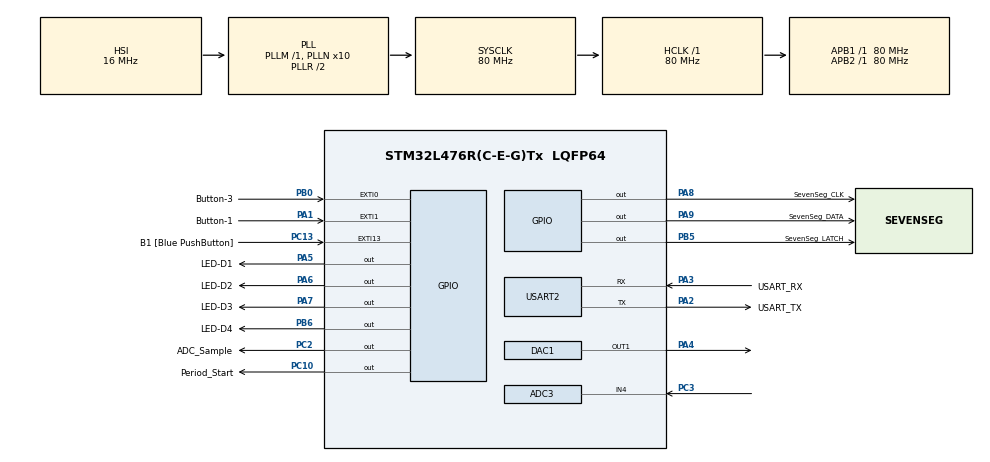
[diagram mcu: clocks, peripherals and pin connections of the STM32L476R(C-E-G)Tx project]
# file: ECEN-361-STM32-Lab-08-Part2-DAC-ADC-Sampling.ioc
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ADC3.Channel-1\#ChannelRegularConversion=ADC_CHANNEL_4
ADC3.ContinuousConvMode=DISABLE
ADC3.DMAContinuousRequests=DISABLE
ADC3.ExternalTrigConv=ADC_SOFTWARE_START
ADC3.NbrOfConversion=1
ADC3.NbrOfConversionFlag=1
ADC3.OffsetNumber-1\#ChannelRegularConversion=ADC_OFFSET_NONE
ADC3.Overrun=ADC_OVR_DATA_OVERWRITTEN
ADC3.Rank-1\#ChannelRegularConversion=1
ADC3.SamplingTime-1\#ChannelRegularConversion=ADC_SAMPLETIME_2CYCLES_5
DAC1.DAC_OutputBuffer-DAC_OUT1=DAC_OUTPUTBUFFER_ENABLE
DAC1.DAC_SampleAndHold-DAC_OUT1=DAC_SAMPLEANDHOLD_DISABLE
DAC1.DAC_Trigger-DAC_OUT1=DAC_TRIGGER_T2_TRGO
DAC1.DAC_UserTrimming-DAC_OUT1=DAC_TRIMMING_USER
Dma.DAC_CH1.0.Direction=DMA_MEMORY_TO_PERIPH
Dma.DAC_CH1.0.Instance=DMA1_Channel3
Dma.DAC_CH1.0.MemDataAlignment=DMA_MDATAALIGN_HALFWORD
Dma.DAC_CH1.0.MemInc=DMA_MINC_ENABLE
Dma.DAC_CH1.0.Mode=DMA_CIRCULAR
Dma.DAC_CH1.0.PeriphDataAlignment=DMA_PDATAALIGN_HALFWORD
Dma.DAC_CH1.0.PeriphInc=DMA_PINC_DISABLE
Dma.DAC_CH1.0.Priority=DMA_PRIORITY_MEDIUM
Dma.Request0=DAC_CH1
Dma.Request1=USART2_TX
Dma.USART2_TX.1.Direction=DMA_MEMORY_TO_PERIPH
Dma.USART2_TX.1.Instance=DMA1_Channel7
Dma.USART2_TX.1.MemDataAlignment=DMA_MDATAALIGN_BYTE
Dma.USART2_TX.1.MemInc=DMA_MINC_ENABLE
Dma.USART2_TX.1.Mode=DMA_NORMAL
Dma.USART2_TX.1.PeriphDataAlignment=DMA_PDATAALIGN_BYTE
Dma.USART2_TX.1.PeriphInc=DMA_PINC_DISABLE
Dma.USART2_TX.1.Priority=DMA_PRIORITY_LOW
Mcu.Family=STM32L4
Mcu.Name=STM32L476R(C-E-G)Tx
Mcu.Package=LQFP64
NVIC.ADC3_IRQn=true\:0\:0\:false\:false\:true\:true\:true\:true
NVIC.DMA1_Channel3_IRQn=true\:5\:0\:true\:false\:true\:true\:true\:true
NVIC.EXTI0_IRQn=true\:0\:0\:false\:false\:true\:true\:true\:true
NVIC.EXTI15_10_IRQn=true\:0\:0\:false\:false\:true\:true\:true\:true
NVIC.EXTI1_IRQn=true\:0\:0\:false\:false\:true\:true\:true\:true
NVIC.PriorityGroup=NVIC_PRIORITYGROUP_4
NVIC.TIM1_BRK_TIM15_IRQn=true\:0\:0\:false\:false\:true\:true\:true\:true
NVIC.TIM1_TRG_COM_TIM17_IRQn=true\:7\:0\:true\:false\:true\:true\:true\:true
NVIC.TIM2_IRQn=true\:0\:0\:false\:false\:true\:true\:true\:true
NVIC.TIM3_IRQn=true\:0\:0\:false\:false\:true\:true\:true\:true
NVIC.TIM6_DAC_IRQn=true\:15\:0\:false\:false\:true\:true\:true\:true
PA1.GPIO_Label=Button-1
PA1.Signal=GPXTI1
PA13\ (JTMS-SWDIO).GPIO_Label=TMS
PA13\ (JTMS-SWDIO).Mode=Serial_Wire
PA13\ (JTMS-SWDIO).Signal=SYS_JTMS-SWDIO
PA14\ (JTCK-SWCLK).GPIO_Label=TCK
PA14\ (JTCK-SWCLK).Mode=Serial_Wire
PA14\ (JTCK-SWCLK).Signal=SYS_JTCK-SWCLK
PA2.GPIO_Label=USART_TX
PA2.GPIO_Mode=GPIO_MODE_AF_PP
PA2.GPIO_PuPd=GPIO_NOPULL
PA2.GPIO_Speed=GPIO_SPEED_FREQ_VERY_HIGH
PA2.Mode=Asynchronous
PA2.Signal=USART2_TX
PA3.GPIO_Label=USART_RX
PA3.GPIO_Mode=GPIO_MODE_AF_PP
PA3.GPIO_PuPd=GPIO_NOPULL
PA3.GPIO_Speed=GPIO_SPEED_FREQ_VERY_HIGH
PA3.Mode=Asynchronous
PA3.Signal=USART2_RX
PA4.Signal=COMP_DAC11_group
PA5.GPIO_Label=LED-D1
PA5.Signal=GPIO_Output
PA6.GPIO_Label=LED-D2
PA6.Signal=GPIO_Output
PA7.GPIO_Label=LED-D3
PA7.Signal=GPIO_Output
PA8.GPIO_Label=SevenSeg_CLK
PA8.Signal=GPIO_Output
PA9.GPIO_Label=SevenSeg_DATA
PA9.Signal=GPIO_Output
PB0.GPIO_Label=Button-3
PB0.Signal=GPXTI0
PB3\ (JTDO-TRACESWO).GPIO_Label=SWO
PB3\ (JTDO-TRACESWO).Signal=SYS_JTDO-SWO
PB5.GPIO_Label=SevenSeg_LATCH
PB5.Signal=GPIO_Output
PB6.GPIO_Label=LED-D4
PB6.Signal=GPIO_Output
PC10.GPIO_Label=Period_Start
PC10.Signal=GPIO_Output
PC13.GPIO_Label=B1 [Blue PushButton]
PC13.GPIO_ModeDefaultEXTI=GPIO_MODE_IT_FALLING
PC13.GPIO_PuPd=GPIO_NOPULL
PC13.Signal=GPXTI13
PC14-OSC32_IN\ (PC14).Mode=LSE-External-Oscillator
PC14-OSC32_IN\ (PC14).Signal=RCC_OSC32_IN
PC15-OSC32_OUT\ (PC15).Mode=LSE-External-Oscillator
PC15-OSC32_OUT\ (PC15).Signal=RCC_OSC32_OUT
PC2.GPIO_Label=ADC_Sample
PC2.Signal=GPIO_Output
PC3.Signal=ADCx_IN4
PC9.Signal=S_TIM8_CH4
PH0-OSC_IN\ (PH0).Signal=RCC_OSC_IN
PH1-OSC_OUT\ (PH1).Signal=RCC_OSC_OUT
ProjectManager.HeapSize=0x200
ProjectManager.StackSize=0x400
ProjectManager.TargetToolchain=STM32CubeIDE
RCC.ADCFreq_Value=64000000
RCC.AHBFreq_Value=80000000
RCC.APB1Freq_Value=80000000
RCC.APB1TimFreq_Value=80000000
RCC.APB2Freq_Value=80000000
RCC.APB2TimFreq_Value=80000000
RCC.CortexFreq_Value=80000000
RCC.HCLKFreq_Value=80000000
RCC.HSE_VALUE=8000000
RCC.HSI_VALUE=16000000
RCC.MSI_VALUE=4000000
RCC.PLLN=10
RCC.PLLSourceVirtual=RCC_PLLSOURCE_HSI
RCC.PREFETCH_ENABLE=1
RCC.SYSCLKFreq_VALUE=80000000
RCC.SYSCLKSource=RCC_SYSCLKSOURCE_PLLCLK
RCC.USBFreq_Value=64000000
RCC.VCOOutputFreq_Value=160000000
SH.ADCx_IN4.0=ADC3_IN4,IN4-Single-Ended
SH.COMP_DAC11_group.0=DAC1_OUT1,DAC_OUT1
SH.S_TIM8_CH4.0=TIM8_CH4
TIM15.Period=1000
TIM15.Prescaler=79
TIM17.Period=100
TIM17.Prescaler=800-1
TIM2.Period=1000
TIM2.Prescaler=79
TIM2.TIM_MasterOutputTrigger=TIM_TRGO_UPDATE
TIM3.Period=20018
TIM3.Prescaler=79
TIM3.TIM_MasterOutputTrigger=TIM_TRGO_UPDATE
USART2.VirtualMode-Asynchronous=VM_ASYNC
VP_TIM15_VS_ClockSourceINT.Mode=Internal
VP_TIM17_VS_ClockSourceINT.Mode=Enable_Timer
VP_TIM2_VS_ClockSourceINT.Mode=Internal
VP_TIM3_VS_ClockSourceINT.Mode=Internal
board=NUCLEO-L476RG

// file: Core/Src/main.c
/* USER CODE BEGIN Header */
/**
  ******************************************************************************
  * @file           : main.c
  * @brief          : ECEN-361-Lab-08-Part-2-DAC-ADC-Sampling
  *
  * BYU-Idaho
  * Fall-2023 :   Lynn Watson
  *
  * See the  STUDENTS EDITABLE places below to modify for submission
  ******************************************************************************
  */
/* USER CODE END Header */
#include "main.h"

/* USER CODE BEGIN Includes */
#include "sinewavetable.h"
#include "MultiFunctionShield.h"
#include <math.h>
/* USER CODE END Includes */

/* USER CODE BEGIN PTD */
void Start_the_DAC_DMA(void);

/* USER CODE END PTD */

/* USER CODE BEGIN PD */
int sindex = 0;
int hit_low = true;
int last_tick = 0;
int this_tick = 0;

enum ADC_Samples_Per_Cycle {
	one_sample_per,
	two_samples_per,
	four_samples_per,
	eight_samples_per,
	fifty_samples_per,
	NUM_CASES
} cases;

struct adc_sample_config {
	int samples_per;
	int Prescaler;
	int Period;
	} ;

/************** STUDENT EDIT START ******************/
/* Fill in the values that effect the sample rate, (timer3)
 * The expected waveform is the "1000" point one == 1 Hz
 *
 * NOTE that the values are only valid for 50 and 8.  1,2,4 are all TBD
 * Also note that to get really 'exact' fine-tuning, it's necessary
 * to do some measurement.  The 'why' is a question in the assignment.
 */

const struct adc_sample_config sample_case[] = {
		{1,		799,	12510},	//First #  in each line is the samples_per
		{2,		799,	12510},	//Second # in each line is the prescaler
		{4,		799,	12510},	//Third # in each line is the period
		{8,		799,	12510}, // This line is valid,
		{50,	79,		20018}
		};
/************** STUDENT EDIT END ******************/

enum ADC_Samples_Per_Cycle current_sample_case = fifty_samples_per ;

int adc_value;
int the_period = 0;
/* USER CODE END PD */

ADC_HandleTypeDef hadc3;

DAC_HandleTypeDef hdac1;
DMA_HandleTypeDef hdma_dac_ch1;

TIM_HandleTypeDef htim2;
TIM_HandleTypeDef htim3;
TIM_HandleTypeDef htim15;
TIM_HandleTypeDef htim17;

UART_HandleTypeDef huart2;
DMA_HandleTypeDef hdma_usart2_tx;

/* USER CODE BEGIN PV */
#define PUTCHAR_PROTOTYPE int __io_putchar(int ch)
/* Going to use the buffer to look for level-crossing detector
 * so we can use the ADC as a frequency counter.
 *
 * May also want to send the value out with another DMA that
 * reads from this buffer and sends it out via USART2
 */
#define ADC_BUFFER_LENGTH 1
uint16_t adc_buffer[ADC_BUFFER_LENGTH];

/* This is the formatted string buffer for the converted ADC results
 * After the buffer full of ADC samples is full, they have to be converted
 * to ASCII, a string per number that represents the 12-bits per sample
 *
 */
uint8_t adc_results_strings_buffer[ADC_BUFFER_LENGTH];

/* USER CODE END PV */

void SystemClock_Config(void);
static void MX_GPIO_Init(void);
static void MX_DMA_Init(void);
static void MX_USART2_UART_Init(void);
static void MX_DAC1_Init(void);
static void MX_TIM2_Init(void);
static void MX_TIM17_Init(void);
static void MX_ADC3_Init(void);
static void MX_TIM3_Init(void);
static void MX_TIM15_Init(void);
/* USER CODE BEGIN PFP */
void SW_SineWave(void * argument);
typedef void (*HAL_DMA_CallbackID)(DMA_HandleTypeDef *_hdma); //Pointer to the callback
void User_DMACompleteCallback(DMA_HandleTypeDef *hdac);

/* USER CODE END PFP */

/* USER CODE BEGIN 0 */

/************* GLOBALS **************/
int sinewave_table_index = 0;

enum points_per_cycle {ten=10,hundred=100,thousand=1000};
enum points_per_cycle points_to_use_in_a_cycle  = thousand;

/* USER CODE END 0 */

int main(void)
{

  /* MCU Configuration--------------------------------------------------------*/

  /* Reset of all peripherals, Initializes the Flash interface and the Systick. */
  HAL_Init();

  /* USER CODE BEGIN Init */
#define USE_HAL_DAC_REGISTER_CALLBACKS        1U

  /* USER CODE END Init */

  /* Configure the system clock */
  SystemClock_Config();

  /* Initialize all configured peripherals */
  MX_GPIO_Init();
  MX_DMA_Init();
  MX_USART2_UART_Init();
  MX_DAC1_Init();
  MX_TIM2_Init();
  MX_TIM17_Init();
  MX_ADC3_Init();
  MX_TIM3_Init();
  MX_TIM15_Init();
  /* USER CODE BEGIN 2 */

  HAL_TIM_Base_Start_IT(&htim2);
  HAL_TIM_Base_Start_IT(&htim3); //Timer3 is the ADC Sample trigger
  HAL_TIM_Base_Start_IT(&htim15); //Timer6 is an absolute Tick

  /* USER CODE END 2 */

  /* Infinite loop */
  /* USER CODE BEGIN WHILE */

  // HAL_GPIO_WritePin(LD2_GPIO_Port,LD2_Pin,1);

  printf("\033\143"); printf("Welcome to ECEN-361 Lab-8 Part2 SineWave Sampling\n\r\r");

  // Start timer
  MultiFunctionShield_Clear();								// Clear the 7-seg display
  HAL_TIM_Base_Start_IT(&htim17);							// LED SevenSeg cycle thru them
  Clear_LEDs();
  MultiFunctionShield_Display(points_to_use_in_a_cycle);

  /* Setup the DMA */

  if (HAL_DMA_Init(&hdma_dac_ch1) != HAL_OK)	{while(1);}
  // if (HAL_DMA_Init(&hdma_adc3) != HAL_OK)		{while(1);}
  if (HAL_DMA_Init(&hdma_usart2_tx) != HAL_OK)		{while(1);}

// HAL_StatusTypeDef HAL_DMA_RegisterCallback(DMA_HandleTypeDef *hdma, HAL_DMA_CallbackIDTypeDef CallbackID, void (* pCallback)(DMA_HandleTypeDef *_hdma));
//*Tell the DMA interrupt where to go*/
  HAL_DMA_RegisterCallback(&hdma_dac_ch1, HAL_DAC_CH1_COMPLETE_CB_ID, User_DMACompleteCallback);
  Start_the_DAC_DMA();

  while (1)
  {
    /* USER CODE END WHILE */

  }
}

void SystemClock_Config(void)
{
  RCC_OscInitTypeDef RCC_OscInitStruct = {0};
  RCC_ClkInitTypeDef RCC_ClkInitStruct = {0};

  /** Configure the main internal regulator output voltage
  */
  if (HAL_PWREx_ControlVoltageScaling(PWR_REGULATOR_VOLTAGE_SCALE1) != HAL_OK)
  {
    Error_Handler();
  }

  /** Initializes the RCC Oscillators according to the specified parameters
  * in the RCC_OscInitTypeDef structure.
  */
  RCC_OscInitStruct.OscillatorType = RCC_OSCILLATORTYPE_HSI;
  RCC_OscInitStruct.HSIState = RCC_HSI_ON;
  RCC_OscInitStruct.HSICalibrationValue = RCC_HSICALIBRATION_DEFAULT;
  RCC_OscInitStruct.PLL.PLLState = RCC_PLL_ON;
  RCC_OscInitStruct.PLL.PLLSource = RCC_PLLSOURCE_HSI;
  RCC_OscInitStruct.PLL.PLLM = 1;
  RCC_OscInitStruct.PLL.PLLN = 10;
  RCC_OscInitStruct.PLL.PLLP = RCC_PLLP_DIV7;
  RCC_OscInitStruct.PLL.PLLQ = RCC_PLLQ_DIV2;
  RCC_OscInitStruct.PLL.PLLR = RCC_PLLR_DIV2;
  if (HAL_RCC_OscConfig(&RCC_OscInitStruct) != HAL_OK)
  {
    Error_Handler();
  }

  /** Initializes the CPU, AHB and APB buses clocks
  */
  RCC_ClkInitStruct.ClockType = RCC_CLOCKTYPE_HCLK|RCC_CLOCKTYPE_SYSCLK
                              |RCC_CLOCKTYPE_PCLK1|RCC_CLOCKTYPE_PCLK2;
  RCC_ClkInitStruct.SYSCLKSource = RCC_SYSCLKSOURCE_PLLCLK;
  RCC_ClkInitStruct.AHBCLKDivider = RCC_SYSCLK_DIV1;
  RCC_ClkInitStruct.APB1CLKDivider = RCC_HCLK_DIV1;
  RCC_ClkInitStruct.APB2CLKDivider = RCC_HCLK_DIV1;

  if (HAL_RCC_ClockConfig(&RCC_ClkInitStruct, FLASH_LATENCY_4) != HAL_OK)
  {
    Error_Handler();
  }
}

static void MX_ADC3_Init(void)
{

  ADC_ChannelConfTypeDef sConfig = {0};

  /** Common config
  */
  hadc3.Instance = ADC3;
  hadc3.Init.ClockPrescaler = ADC_CLOCK_ASYNC_DIV1;
  hadc3.Init.Resolution = ADC_RESOLUTION_12B;
  hadc3.Init.DataAlign = ADC_DATAALIGN_RIGHT;
  hadc3.Init.ScanConvMode = ADC_SCAN_DISABLE;
  hadc3.Init.EOCSelection = ADC_EOC_SINGLE_CONV;
  hadc3.Init.LowPowerAutoWait = DISABLE;
  hadc3.Init.ContinuousConvMode = DISABLE;
  hadc3.Init.NbrOfConversion = 1;
  hadc3.Init.DiscontinuousConvMode = DISABLE;
  hadc3.Init.ExternalTrigConv = ADC_SOFTWARE_START;
  hadc3.Init.ExternalTrigConvEdge = ADC_EXTERNALTRIGCONVEDGE_NONE;
  hadc3.Init.DMAContinuousRequests = DISABLE;
  hadc3.Init.Overrun = ADC_OVR_DATA_OVERWRITTEN;
  hadc3.Init.OversamplingMode = DISABLE;
  if (HAL_ADC_Init(&hadc3) != HAL_OK)
  {
    Error_Handler();
  }

  /** Configure Regular Channel
  */
  sConfig.Channel = ADC_CHANNEL_4;
  sConfig.Rank = ADC_REGULAR_RANK_1;
  sConfig.SamplingTime = ADC_SAMPLETIME_2CYCLES_5;
  sConfig.SingleDiff = ADC_SINGLE_ENDED;
  sConfig.OffsetNumber = ADC_OFFSET_NONE;
  sConfig.Offset = 0;
  if (HAL_ADC_ConfigChannel(&hadc3, &sConfig) != HAL_OK)
  {
    Error_Handler();
  }

}

static void MX_DAC1_Init(void)
{

  DAC_ChannelConfTypeDef sConfig = {0};

  /** DAC Initialization
  */
  hdac1.Instance = DAC1;
  if (HAL_DAC_Init(&hdac1) != HAL_OK)
  {
    Error_Handler();
  }

  /** DAC channel OUT1 config
  */
  sConfig.DAC_SampleAndHold = DAC_SAMPLEANDHOLD_DISABLE;
  sConfig.DAC_Trigger = DAC_TRIGGER_T2_TRGO;
  sConfig.DAC_OutputBuffer = DAC_OUTPUTBUFFER_ENABLE;
  sConfig.DAC_ConnectOnChipPeripheral = DAC_CHIPCONNECT_DISABLE;
  sConfig.DAC_UserTrimming = DAC_TRIMMING_USER;
  sConfig.DAC_TrimmingValue = 1;
  if (HAL_DAC_ConfigChannel(&hdac1, &sConfig, DAC_CHANNEL_1) != HAL_OK)
  {
    Error_Handler();
  }
  /* USER CODE BEGIN DAC1_Init 2 */
  // HAL_StatusTypeDef HAL_DACEx_SelfCalibrate(DAC_HandleTypeDef *hdac, *sConfig, uint32_t Channel)
  if (HAL_DACEx_SelfCalibrate(&hdac1, &sConfig, DAC_CHANNEL_1) != HAL_OK) {Error_Handler();}

  /* USER CODE END DAC1_Init 2 */

}

static void MX_TIM2_Init(void)
{

  TIM_ClockConfigTypeDef sClockSourceConfig = {0};
  TIM_MasterConfigTypeDef sMasterConfig = {0};

  htim2.Instance = TIM2;
  htim2.Init.Prescaler = 79;
  htim2.Init.CounterMode = TIM_COUNTERMODE_UP;
  htim2.Init.Period = 1000;
  htim2.Init.ClockDivision = TIM_CLOCKDIVISION_DIV1;
  htim2.Init.AutoReloadPreload = TIM_AUTORELOAD_PRELOAD_DISABLE;
  if (HAL_TIM_Base_Init(&htim2) != HAL_OK)
  {
    Error_Handler();
  }
  sClockSourceConfig.ClockSource = TIM_CLOCKSOURCE_INTERNAL;
  if (HAL_TIM_ConfigClockSource(&htim2, &sClockSourceConfig) != HAL_OK)
  {
    Error_Handler();
  }
  sMasterConfig.MasterOutputTrigger = TIM_TRGO_UPDATE;
  sMasterConfig.MasterSlaveMode = TIM_MASTERSLAVEMODE_DISABLE;
  if (HAL_TIMEx_MasterConfigSynchronization(&htim2, &sMasterConfig) != HAL_OK)
  {
    Error_Handler();
  }

}

static void MX_TIM3_Init(void)
{

  TIM_ClockConfigTypeDef sClockSourceConfig = {0};
  TIM_MasterConfigTypeDef sMasterConfig = {0};

  htim3.Instance = TIM3;
  htim3.Init.Prescaler = 79;
  htim3.Init.CounterMode = TIM_COUNTERMODE_UP;
  htim3.Init.Period = 20018;
  htim3.Init.ClockDivision = TIM_CLOCKDIVISION_DIV1;
  htim3.Init.AutoReloadPreload = TIM_AUTORELOAD_PRELOAD_DISABLE;
  if (HAL_TIM_Base_Init(&htim3) != HAL_OK)
  {
    Error_Handler();
  }
  sClockSourceConfig.ClockSource = TIM_CLOCKSOURCE_INTERNAL;
  if (HAL_TIM_ConfigClockSource(&htim3, &sClockSourceConfig) != HAL_OK)
  {
    Error_Handler();
  }
  sMasterConfig.MasterOutputTrigger = TIM_TRGO_UPDATE;
  sMasterConfig.MasterSlaveMode = TIM_MASTERSLAVEMODE_DISABLE;
  if (HAL_TIMEx_MasterConfigSynchronization(&htim3, &sMasterConfig) != HAL_OK)
  {
    Error_Handler();
  }

}

static void MX_TIM15_Init(void)
{

  TIM_ClockConfigTypeDef sClockSourceConfig = {0};
  TIM_MasterConfigTypeDef sMasterConfig = {0};

  htim15.Instance = TIM15;
  htim15.Init.Prescaler = 79;
  htim15.Init.CounterMode = TIM_COUNTERMODE_UP;
  htim15.Init.Period = 1000;
  htim15.Init.ClockDivision = TIM_CLOCKDIVISION_DIV1;
  htim15.Init.RepetitionCounter = 0;
  htim15.Init.AutoReloadPreload = TIM_AUTORELOAD_PRELOAD_DISABLE;
  if (HAL_TIM_Base_Init(&htim15) != HAL_OK)
  {
    Error_Handler();
  }
  sClockSourceConfig.ClockSource = TIM_CLOCKSOURCE_INTERNAL;
  if (HAL_TIM_ConfigClockSource(&htim15, &sClockSourceConfig) != HAL_OK)
  {
    Error_Handler();
  }
  sMasterConfig.MasterOutputTrigger = TIM_TRGO_RESET;
  sMasterConfig.MasterSlaveMode = TIM_MASTERSLAVEMODE_DISABLE;
  if (HAL_TIMEx_MasterConfigSynchronization(&htim15, &sMasterConfig) != HAL_OK)
  {
    Error_Handler();
  }

}

static void MX_TIM17_Init(void)
{

  htim17.Instance = TIM17;
  htim17.Init.Prescaler = 800-1;
  htim17.Init.CounterMode = TIM_COUNTERMODE_UP;
  htim17.Init.Period = 100;
  htim17.Init.ClockDivision = TIM_CLOCKDIVISION_DIV1;
  htim17.Init.RepetitionCounter = 0;
  htim17.Init.AutoReloadPreload = TIM_AUTORELOAD_PRELOAD_DISABLE;
  if (HAL_TIM_Base_Init(&htim17) != HAL_OK)
  {
    Error_Handler();
  }

}

static void MX_USART2_UART_Init(void)
{

  huart2.Instance = USART2;
  huart2.Init.BaudRate = 115200;
  huart2.Init.WordLength = UART_WORDLENGTH_8B;
  huart2.Init.StopBits = UART_STOPBITS_1;
  huart2.Init.Parity = UART_PARITY_NONE;
  huart2.Init.Mode = UART_MODE_TX_RX;
  huart2.Init.HwFlowCtl = UART_HWCONTROL_NONE;
  huart2.Init.OverSampling = UART_OVERSAMPLING_16;
  huart2.Init.OneBitSampling = UART_ONE_BIT_SAMPLE_DISABLE;
  huart2.AdvancedInit.AdvFeatureInit = UART_ADVFEATURE_NO_INIT;
  if (HAL_UART_Init(&huart2) != HAL_OK)
  {
    Error_Handler();
  }

}

static void MX_DMA_Init(void)
{

  /* DMA controller clock enable */
  __HAL_RCC_DMA1_CLK_ENABLE();

  /* DMA interrupt init */
  /* DMA1_Channel3_IRQn interrupt configuration */
  HAL_NVIC_SetPriority(DMA1_Channel3_IRQn, 5, 0);
  HAL_NVIC_EnableIRQ(DMA1_Channel3_IRQn);

}

static void MX_GPIO_Init(void)
{
  GPIO_InitTypeDef GPIO_InitStruct = {0};

  /* GPIO Ports Clock Enable */
  __HAL_RCC_GPIOC_CLK_ENABLE();
  __HAL_RCC_GPIOH_CLK_ENABLE();
  __HAL_RCC_GPIOA_CLK_ENABLE();
  __HAL_RCC_GPIOB_CLK_ENABLE();

  /*Configure GPIO pin Output Level */
  HAL_GPIO_WritePin(GPIOC, ADC_Sample_Pin|Period_Start_Pin, GPIO_PIN_RESET);

  /*Configure GPIO pin Output Level */
  HAL_GPIO_WritePin(GPIOA, LED_D1_Pin|LED_D2_Pin|LED_D3_Pin|SevenSeg_CLK_Pin
                          |SevenSeg_DATA_Pin, GPIO_PIN_RESET);

  /*Configure GPIO pin Output Level */
  HAL_GPIO_WritePin(GPIOB, SevenSeg_LATCH_Pin|LED_D4_Pin, GPIO_PIN_RESET);

  /*Configure GPIO pin : B1_Pin */
  GPIO_InitStruct.Pin = B1_Pin;
  GPIO_InitStruct.Mode = GPIO_MODE_IT_FALLING;
  GPIO_InitStruct.Pull = GPIO_NOPULL;
  HAL_GPIO_Init(B1_GPIO_Port, &GPIO_InitStruct);

  /*Configure GPIO pins : ADC_Sample_Pin Period_Start_Pin */
  GPIO_InitStruct.Pin = ADC_Sample_Pin|Period_Start_Pin;
  GPIO_InitStruct.Mode = GPIO_MODE_OUTPUT_PP;
  GPIO_InitStruct.Pull = GPIO_NOPULL;
  GPIO_InitStruct.Speed = GPIO_SPEED_FREQ_LOW;
  HAL_GPIO_Init(GPIOC, &GPIO_InitStruct);

  /*Configure GPIO pin : Button_1_Pin */
  GPIO_InitStruct.Pin = Button_1_Pin;
  GPIO_InitStruct.Mode = GPIO_MODE_IT_RISING;
  GPIO_InitStruct.Pull = GPIO_NOPULL;
  HAL_GPIO_Init(Button_1_GPIO_Port, &GPIO_InitStruct);

  /*Configure GPIO pins : LED_D1_Pin LED_D2_Pin LED_D3_Pin SevenSeg_CLK_Pin
                           SevenSeg_DATA_Pin */
  GPIO_InitStruct.Pin = LED_D1_Pin|LED_D2_Pin|LED_D3_Pin|SevenSeg_CLK_Pin
                          |SevenSeg_DATA_Pin;
  GPIO_InitStruct.Mode = GPIO_MODE_OUTPUT_PP;
  GPIO_InitStruct.Pull = GPIO_NOPULL;
  GPIO_InitStruct.Speed = GPIO_SPEED_FREQ_LOW;
  HAL_GPIO_Init(GPIOA, &GPIO_InitStruct);

  /*Configure GPIO pin : Button_3_Pin */
  GPIO_InitStruct.Pin = Button_3_Pin;
  GPIO_InitStruct.Mode = GPIO_MODE_IT_RISING;
  GPIO_InitStruct.Pull = GPIO_NOPULL;
  HAL_GPIO_Init(Button_3_GPIO_Port, &GPIO_InitStruct);

  /*Configure GPIO pin : PC9 */
  GPIO_InitStruct.Pin = GPIO_PIN_9;
  GPIO_InitStruct.Mode = GPIO_MODE_AF_PP;
  GPIO_InitStruct.Pull = GPIO_NOPULL;
  GPIO_InitStruct.Speed = GPIO_SPEED_FREQ_LOW;
  GPIO_InitStruct.Alternate = GPIO_AF3_TIM8;
  HAL_GPIO_Init(GPIOC, &GPIO_InitStruct);

  /*Configure GPIO pins : SevenSeg_LATCH_Pin LED_D4_Pin */
  GPIO_InitStruct.Pin = SevenSeg_LATCH_Pin|LED_D4_Pin;
  GPIO_InitStruct.Mode = GPIO_MODE_OUTPUT_PP;
  GPIO_InitStruct.Pull = GPIO_NOPULL;
  GPIO_InitStruct.Speed = GPIO_SPEED_FREQ_LOW;
  HAL_GPIO_Init(GPIOB, &GPIO_InitStruct);

  /* EXTI interrupt init*/
  HAL_NVIC_SetPriority(EXTI0_IRQn, 0, 0);
  HAL_NVIC_EnableIRQ(EXTI0_IRQn);

  HAL_NVIC_SetPriority(EXTI1_IRQn, 0, 0);
  HAL_NVIC_EnableIRQ(EXTI1_IRQn);

  HAL_NVIC_SetPriority(EXTI15_10_IRQn, 0, 0);
  HAL_NVIC_EnableIRQ(EXTI15_10_IRQn);

}

/* USER CODE BEGIN 4 */

/**
  * @brief  Retargets the C library printf function to the USART.
  * @param  None
  * @retval None
  */
PUTCHAR_PROTOTYPE
{
  /* Place your implementation of fputc here */
  /* e.g. write a character to the USART1 and Loop until the end of transmission */
  HAL_UART_Transmit(&huart2, (uint8_t *)&ch, 1, 0xFFFF);

  return ch;
}

void HAL_DAC_ConvCpltCallbackCh1(DAC_HandleTypeDef *hdac)
	{
	/* Fill this in when I know what to do if I get here */
	/* We get here when we are starting a new cycle of the analog out
	 *
	 */
	// Toggle a GPIO so I can measure it with a scope
	HAL_GPIO_WritePin(Period_Start_GPIO_Port, Period_Start_Pin, GPIO_PIN_SET);
	for(int i=0;i<10;i++);
	HAL_GPIO_WritePin(Period_Start_GPIO_Port, Period_Start_Pin, GPIO_PIN_RESET);
	// And set the period in ms  (global)
	the_period = uwTick - last_tick;
	last_tick = uwTick;
	HAL_DMA_RegisterCallback(&hdma_dac_ch1, HAL_DAC_CH1_COMPLETE_CB_ID, User_DMACompleteCallback);
	}

void SW_SineWave(void * arguments)
	{
	HAL_DAC_Start(&hdac1, DAC_CHANNEL_1);
	while(true)
		{
		for(int sindex=0;sindex<=1000;sindex++)
			{
			  //HAL_DAC_SetValue(&hdac1, DAC_CHANNEL_1, DAC_ALIGN_12B_R,(uint32_t) sineLookup[sindex]);
			  HAL_Delay(1);
			}

		}
	}

void Start_the_DAC_DMA(void)
	{
	 //First stop it, just to be clean (if running)
	HAL_DAC_Stop_DMA(&hdac1, DAC_CHANNEL_1);
	// Just use the global

	switch(points_to_use_in_a_cycle)
		{
		case ten:
		   HAL_DAC_Start_DMA(&hdac1, DAC_CHANNEL_1, (uint32_t*) sineLookupTable_10_pts, 10,DAC_ALIGN_12B_R);
			break;
		case hundred:
		   HAL_DAC_Start_DMA(&hdac1, DAC_CHANNEL_1, (uint32_t*) sineLookupTable_100_pts, 100,DAC_ALIGN_12B_R);
			break;
		case thousand:
		   HAL_DAC_Start_DMA(&hdac1, DAC_CHANNEL_1, (uint32_t*) sineLookupTable_1000_pts, 1000,DAC_ALIGN_12B_R);
			break;
		}
	}

void change_points_per_cycle()
	{
	/*
	 *  This routine just cycles thru the 3 different sets of points that
	 *  can be used to generate a sine wave.
	 *  The steps to change:
	 *  1.) Change the variable that says what set we're on to the next one
	 *  2.) Change the DMA Call to point to the address of that set
	 *      and the new number of points
	 *
	 *  3.) Re-display the new set on the 7-Seg.  It'll show '10', or '100', or '1000'
	 */
	switch(points_to_use_in_a_cycle)
		{
		case ten:
			points_to_use_in_a_cycle = hundred;
			break;
		case hundred:
			points_to_use_in_a_cycle = thousand;
			break;
		case thousand:
			points_to_use_in_a_cycle = ten;
			break;
		}
		Start_the_DAC_DMA();
		MultiFunctionShield_Display(points_to_use_in_a_cycle);
	}

// Callback: timer has rolled over

void change_sample_case()
	{
	current_sample_case++;
	if (current_sample_case == NUM_CASES)
		current_sample_case = 0 ;
	// Now set the prescaler and the timer
	HAL_TIM_Base_Stop_IT(&htim3); //Timer3 is the ADC Sample trigger
	htim3.Init.Prescaler = sample_case[current_sample_case].Prescaler;
	htim3.Init.Period    = sample_case[current_sample_case].Period;
	HAL_TIM_Base_Init(&htim3);
	HAL_TIM_Base_Start_IT(&htim3); //Timer3 is the ADC Sample trigger
	display_current_sample_case(sample_case[current_sample_case].samples_per);
	}

void HAL_GPIO_EXTI_Callback(uint16_t GPIO_Pin)
	{
	// When the DAC is being used, Button_2 is unavailable.
	// The other two generate GPIO interrupts
	// Don't spend much time in the ISR because there are other interrupts happening
	switch(GPIO_Pin)
	{
	case Button_1_Pin:
		change_points_per_cycle();
		break;
	case Button_3_Pin:
		// Show the ADC Samples / Sec.  (Assumes the 1 Hz source signal)
		change_sample_case();
	  // MultiFunctionShield_Display(the_period);
		break;
	default:
      __NOP();
	}
	for(int i=1;i<50;i++);
}

void HAL_ADC_ConvCpltCallback(ADC_HandleTypeDef* hadc3) {
	// When the ADC Buffer is filled, come here then launch the USART out... week 2 of the lab
	//
	// This is NOT currently used, because we're doing single interrupt for ADC-Trigger
	// This could be used for a DMA-based buffer

	adc_value = HAL_ADC_GetValue(hadc3);
    __HAL_ADC_CLEAR_FLAG(hadc3, (ADC_FLAG_EOC | ADC_FLAG_EOS));
	}

// Callback: timer has rolled over
void HAL_TIM_PeriodElapsedCallback(TIM_HandleTypeDef *htim)
	{
	// Check which version of the timer triggered this callback and toggle the right LED
	// This timer has to be here to cycle thru the 7-Seg LED displays
    int int_part;
	if (htim == &htim17 ) { MultiFunctionShield__ISRFunc(); }
	if (htim == &htim3 )
		{
		// Kinda tricky printing a floating value with %float types
		// don't print in this version of C
		HAL_ADC_Start(&hadc3);
		HAL_ADC_PollForConversion(&hadc3, 10000);
		adc_value = HAL_ADC_GetValue(&hadc3);
		float voltage = 3.3 / 4096 * adc_value;
		float look = round(voltage * 4096) / 4096;
		int_part = (int) look;
		float frac = trunc((voltage - int_part)*1000);
		printf("%d.%03d\n\r",int_part,(int) frac);
		HAL_GPIO_WritePin(ADC_Sample_GPIO_Port, ADC_Sample_Pin, GPIO_PIN_SET);
		for(int i=0;i<10;i++);	// Just to get a pulse
		HAL_GPIO_WritePin(ADC_Sample_GPIO_Port, ADC_Sample_Pin, GPIO_PIN_RESET);
		}
	}

void User_DMACompleteCallback(DMA_HandleTypeDef *hdac)
	{
	HAL_GPIO_WritePin(Period_Start_GPIO_Port, Period_Start_Pin, GPIO_PIN_SET);
	for(int i=0;i<10;i++);	// Just to get a pulse
	HAL_GPIO_WritePin(Period_Start_GPIO_Port, Period_Start_Pin, GPIO_PIN_RESET);
	}

/* USER CODE END 4 */

void Error_Handler(void)
{
  __disable_irq();
  while (1)
  {
  }
}
